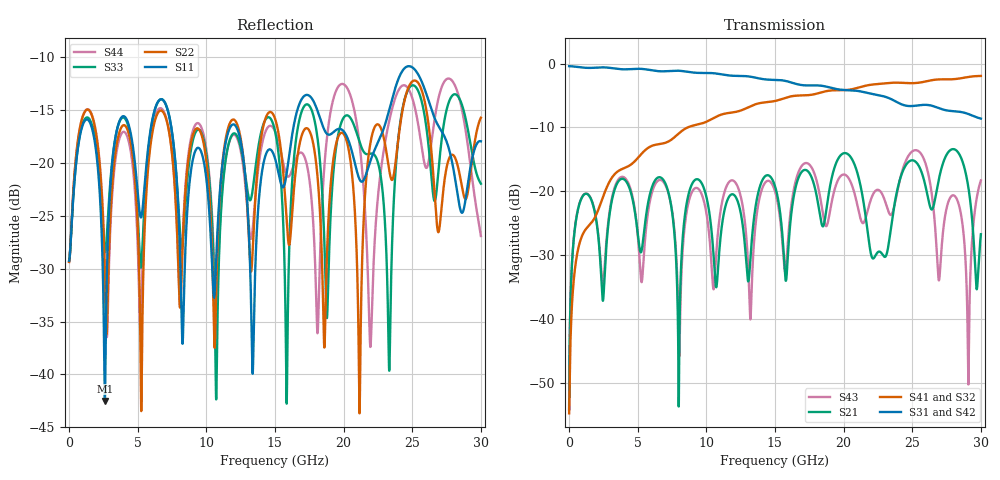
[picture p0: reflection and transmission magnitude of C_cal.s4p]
!diffpair-meanders C_cal (U-bend, sparse tuning lengthened by its EM residual), mesh medium
!ports 1 P_near 2 N_near 3 P_far 4 N_far; openEMS FDTD, lumped 50 ohm ports
# Hz S RI R 50.0
! Port[1] = P_near
! Port[2] = N_near
! Port[3] = P_far
! Port[4] = N_far
!freq ReS11 ImS11 ReS12 ImS12 ReS13 ImS13
! ReS14 ImS14
! ReS21 ImS21 ReS22 ImS22 ReS23 ImS23
! ReS24 ImS24
! ReS31 ImS31 ReS32 ImS32 ReS33 ImS33
! ReS34 ImS34
! ReS41 ImS41 ReS42 ImS42 ReS43 ImS43
! ReS44 ImS44
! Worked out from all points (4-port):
!   3000 points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, 10 MHz to 30 GHz, reference 50 ohm
!   strongest paths, dB at 10 MHz, 7.51 GHz, 15.01 GHz, 22.51 GHz, 30 GHz:
!     S31: -0.4, -1.1, -2.6, -4.9, -8.6
!     S42: -0.4, -1.1, -2.7, -5.0, -8.9
!     S41: -54.7, -11.8, -5.9, -3.2, -1.9
!     S32: -54.8, -11.8, -6.0, -3.2, -1.9
!     S21: -54.2, -23.2, -19.2, -29.5, -26.7
!     S43: -54.1, -23.1, -20.0, -19.8, -18.3
!   lowest |S11| = -42.5 dB at 2.61 GHz (marker M1), VSWR 1.02, Z = 49.3 - j0.236 ohm
!   |S11| at or under -10 dB: start of sweep to end of sweep
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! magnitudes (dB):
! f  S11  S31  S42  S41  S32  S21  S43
! 10 MHz  -29.2  -0.4  -0.4  -54.7  -54.8  -54.2  -54.1
! 850 MHz  -17.1  -0.6  -0.6  -27.6  -27.5  -21.4  -21.4
! 2.61 GHz  -42.5  -0.6  -0.6  -20.1  -20.1  -32.5  -31.3
! 21.16 GHz  -21.5  -4.3  -4.4  -3.7  -3.6  -18.4  -23.7
! 25.29 GHz  -11.3  -6.6  -6.5  -3.0  -3.0  -15.5  -13.6
! 29.08 GHz  -21.7  -7.9  -8.0  -2.1  -2.0  -19.3  -50.2
! 30 GHz  -17.9  -8.6  -8.9  -1.9  -1.9  -26.7  -18.3
